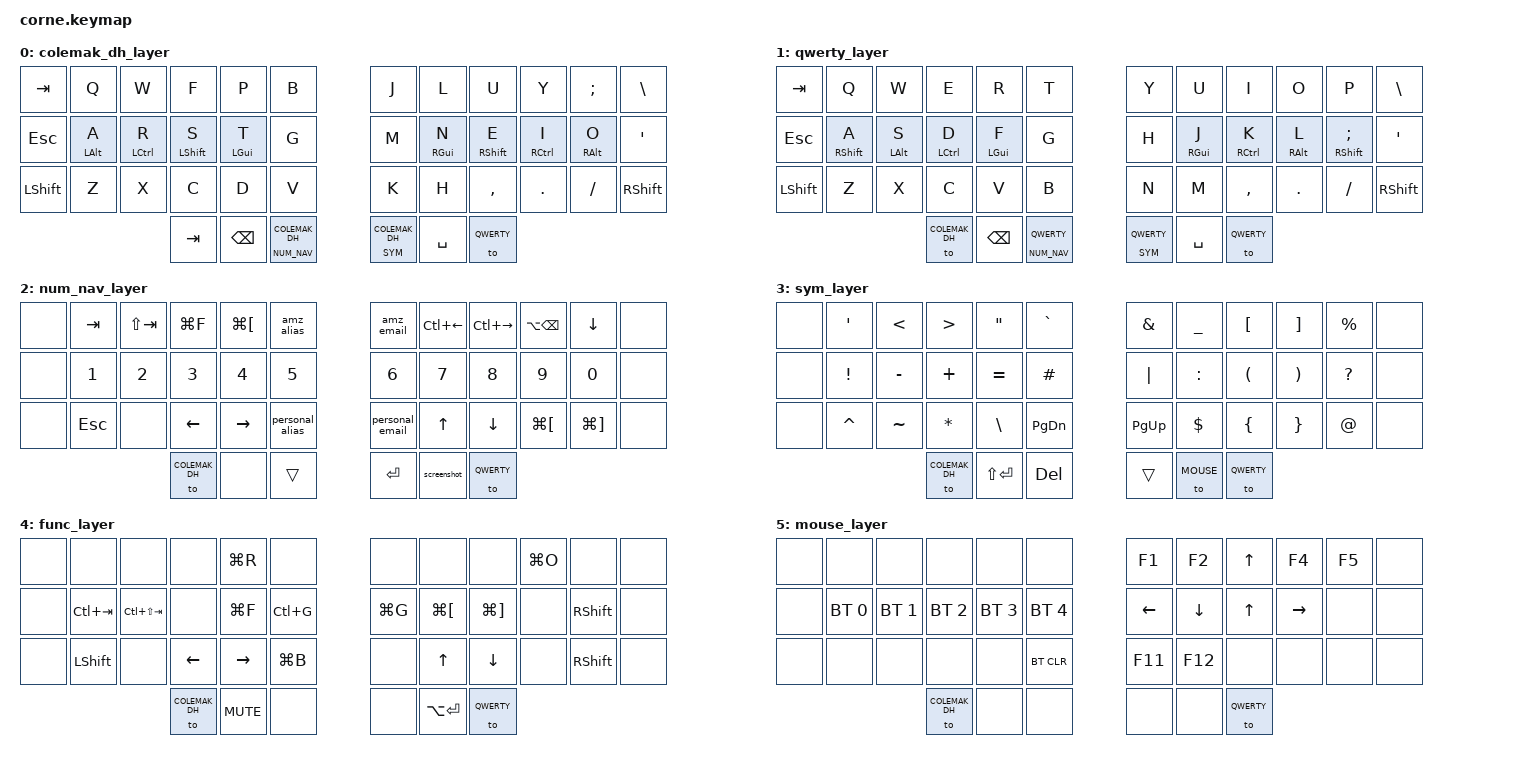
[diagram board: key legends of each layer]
/*
 * Copyright (c) 2020 The ZMK Contributors
 *
 * SPDX-License-Identifier: MIT
 */

#include <behaviors.dtsi>
#include <dt-bindings/zmk/keys.h>
#include <dt-bindings/zmk/bt.h>

// Layer definitions
#define COLEMAK_DH 0
#define QWERTY     1
#define NUM_NAV    2
#define SYM        3
#define FUNC       4
#define MOUSE      5

/ {
    macros {
        amz_alias: amz_alias {
            label = "Amazon_Alias";
            compatible = "zmk,behavior-macro";
            #binding-cells = <0>;
            bindings
                = <&macro_tap &kp M &kp A &kp C &kp D &kp M &kp E &kp R &kp R>;
        };

        amz_email: amz_email {
            label = "Amazon_Email";
            compatible = "zmk,behavior-macro";
            #binding-cells = <0>;
            bindings
                = <&macro_tap &kp M &kp A &kp C &kp D &kp M &kp E &kp R &kp R &kp AT &kp A &kp M &kp A &kp Z &kp O &kp N &kp DOT &kp C &kp O &kp M>;
        };

        personal_alias: personal_alias {
            label = "Personal_Alias";
            compatible = "zmk,behavior-macro";
            #binding-cells = <0>;
            bindings
                = <&macro_tap &kp M &kp A &kp C &kp M &kp E &kp R &kp R &kp I &kp T &kp T &kp N9 &kp N0>;
        };

        personal_email: personal_email {
            label = "Personal_Email";
            compatible = "zmk,behavior-macro";
            #binding-cells = <0>;
            bindings
                = <&macro_tap &kp M &kp A &kp C &kp M &kp E &kp R &kp R &kp I &kp T &kp T &kp N9 &kp N0 &kp AT &kp G &kp M &kp A &kp I &kp L &kp DOT &kp C &kp O &kp M>;
        };

        screenshot: screenshot {
            label = "Screenshot";
            compatible = "zmk,behavior-macro";
            #binding-cells = <0>;
            bindings
                = <&macro_press &kp LGUI &kp RSHFT>,
                  <&macro_tap &kp N4>,
                  <&macro_release &kp LGUI &kp RSHFT>;
        };
    };

    behaviors {
        lt_to2: layer_tap_to_layer_2 {
            compatible = "zmk,behavior-hold-tap";
            label = "LAYER_TAP_TO_LAYER_2";
            #binding-cells = <2>;
            tapping-term-ms = <200>;
            quick-tap-ms = <0>;
            flavor = "hold-preferred";
            bindings = <&mo>, <&to>;
        };

        lt_to3: layer_tap_to_layer_3 {
            compatible = "zmk,behavior-hold-tap";
            label = "LAYER_TAP_TO_LAYER_3";
            #binding-cells = <2>;
            tapping-term-ms = <200>;
            quick-tap-ms = <0>;
            flavor = "hold-preferred";
            bindings = <&mo>, <&to>;
        };
        
        mt: mod_tap {
            compatible = "zmk,behavior-hold-tap";
            label = "MOD_TAP";
            #binding-cells = <2>;
            tapping-term-ms = <200>;
            flavor = "tap-preferred";
            global-quick-tap;
            bindings = <&kp>, <&kp>;
        };
    };

    keymap {
        compatible = "zmk,keymap";

        colemak_dh_layer {
            // -----------------------------------------------------------------------------------------
            // |  TAB |  Q  |  W  |  F  |  P  |  B  |   |  J  |  L  |  U  |  Y  |  ;  |  \  |
            // | ESC  |  A  |  R  |  S  |  T  |  G  |   |  M  |  N  |  E  |  I  |  O  |  '  |
            // | SHFT |  Z  |  X  |  C  |  D  |  V  |   |  K  |  H  |  ,  |  .  |  /  | SHFT|
            //                    | TAB | BSPC| LT2 |   | LT3 | SPC | TO1 |
            bindings = <
                &kp TAB         &kp Q           &kp W           &kp F            &kp P           &kp B                 &kp J           &kp L           &kp U            &kp Y           &kp SEMI        &kp BSLH
                &kp ESC         &mt LALT A      &mt LCTRL R     &mt LSHFT S      &mt LGUI T      &kp G                 &kp M           &mt RGUI N      &mt RSHFT E      &mt RCTRL I     &mt RALT O      &kp SQT
                &kp LSHFT       &kp Z           &kp X           &kp C            &kp D           &kp V                 &kp K           &kp H           &kp COMMA        &kp DOT         &kp FSLH        &kp RSHFT
                                                &kp TAB         &kp BSPC         &lt_to2 NUM_NAV COLEMAK_DH            &lt_to3 SYM COLEMAK_DH          &kp SPACE       &to QWERTY
            >;
        };

        qwerty_layer {
            // -----------------------------------------------------------------------------------------
            // |  TAB |  Q  |  W  |  E  |  R  |  T  |   |  Y  |  U  |  I  |  O  |  P  |  \  |
            // | ESC  |  A  |  S  |  D  |  F  |  G  |   |  H  |  J  |  K  |  L  |  ;  |  '  |
            // | SHFT |  Z  |  X  |  C  |  V  |  B  |   |  N  |  M  |  ,  |  .  |  /  | SHFT|
            //                    | TO0 | BSPC| LT2 |   | LT3 | SPC | TO1 |
            bindings = <
                &kp TAB         &kp Q           &kp W           &kp E            &kp R           &kp T                 &kp Y           &kp U           &kp I            &kp O           &kp P           &kp BSLH
                &kp ESC         &mt RSHFT A     &mt LALT S      &mt LCTRL D      &mt LGUI F      &kp G                 &kp H           &mt RGUI J      &mt RCTRL K      &mt RALT L      &mt RSHFT SEMI  &kp SQT
                &kp LSHFT       &kp Z           &kp X           &kp C            &kp V           &kp B                 &kp N           &kp M           &kp COMMA        &kp DOT         &kp FSLH        &kp RSHFT
                                                &to COLEMAK_DH  &kp BSPC         &lt_to2 NUM_NAV QWERTY                &lt_to3 SYM QWERTY              &kp SPACE       &to QWERTY
            >;
        };

        num_nav_layer {
            // -----------------------------------------------------------------------------------------
            // |      | TAB  |STAB  |GUI+F |GUI+[ |ALIAS |   |EMAIL |C+LFT |C+RGT |A+BSPC| DOWN |      |
            // |      |  1   |  2   |  3   |  4   |  5   |   |  6   |  7   |  8   |  9   |  0   |      |
            // |      | ESC  |      | LEFT | RIGHT|PALIAS|   | PEML | UP   | DOWN |GUI+[ |GUI+] |      |
            //                      | TO0  |      |      |   | ENT  |SCRN  | TO1  |
            bindings = <
                &none           &kp TAB         &kp LS(TAB)     &kp LG(F)        &kp LG(LBKT)    &amz_alias           &amz_email      &kp LC(LEFT)    &kp LC(RIGHT)    &kp LA(BSPC)    &kp DOWN        &none
                &none           &kp N1          &kp N2          &kp N3           &kp N4          &kp N5               &kp N6          &kp N7          &kp N8           &kp N9          &kp N0          &none
                &none           &kp ESC         &none           &kp LEFT         &kp RIGHT       &personal_alias      &personal_email &kp UP          &kp DOWN         &kp LG(LBKT)    &kp LG(RBKT)    &none
                                                &to COLEMAK_DH  &none            &trans                               &kp RET         &screenshot     &to QWERTY
            >;
        };

        sym_layer {
            // -----------------------------------------------------------------------------------------
            // |      |  '   |  <   |  >   |  "   |  `   |   |  &   |  _   |  [   |  ]   |  %   |      |
            // |      |  !   |  -   |  +   |  =   |  #   |   |  |   |  :   |  (   |  )   |  ?   |      |
            // |      |  ^   |  ~   |  *   |  \   | PGDN |   | PGUP |  $   |  {   |  }   |  @   |      |
            //                      | TO0  |S+ENT | DEL  |   |      | TO5  | TO1  |
            bindings = <
                &none           &kp SQT         &kp LT          &kp GT           &kp DQT         &kp GRAVE            &kp AMPS        &kp UNDER       &kp LBKT         &kp RBKT        &kp PRCNT       &none
                &none           &kp EXCL        &kp MINUS       &kp PLUS         &kp EQUAL       &kp HASH             &kp PIPE        &kp COLON       &kp LPAR         &kp RPAR        &kp QMARK       &none
                &none           &kp CARET       &kp TILDE       &kp ASTRK        &kp BSLH        &kp PG_DN            &kp PG_UP       &kp DLLR        &kp LBRC         &kp RBRC        &kp AT          &none
                                                &to COLEMAK_DH  &kp LS(RET)      &kp DEL                              &trans          &to MOUSE       &to QWERTY
            >;
        };

        func_layer {
            // -----------------------------------------------------------------------------------------
            // |      |      |      |      |GUI+R |      |   |      |      |      |GUI+O |      |      |
            // |      |C+TAB |C+S+TB|      |GUI+F |C+G   |   |GUI+G |GUI+[ |GUI+] |      |RSHFT |      |
            // |      |LSHFT |      | LEFT | RIGHT|GUI+B |   |      | UP   | DOWN |      |RSHFT |      |
            //                      | TO0  | BTN1 |      |   |      |A+ENT | TO1  |
            bindings = <
                &none           &none           &none           &none            &kp LG(R)       &none                &none           &none           &none            &kp LG(O)       &none           &none
                &none           &kp LC(TAB)     &kp LC(LS(TAB)) &none            &kp LG(F)       &kp LC(G)            &kp LG(G)       &kp LG(LBKT)    &kp LG(RBKT)     &none           &kp RSHFT       &none
                &none           &kp LSHFT       &none           &kp LEFT         &kp RIGHT       &kp LG(B)            &none           &kp UP          &kp DOWN         &none           &kp RSHFT       &none
                                                &to COLEMAK_DH  &kp K_MUTE       &none                                &none           &kp LA(RET)     &to QWERTY
            >;
        };

        mouse_layer {
            // -----------------------------------------------------------------------------------------
            // |      |      |      |      |      |      |   | F1   | F2   | UP   | F4   | F5   |      |
            // |      | BT1  | BT2  | BT3  | BT4  | BT5  |   | LEFT | DOWN | UP   |RIGHT |      |      |
            // |      |      |      |      |      |BTCLR |   | F11  | F12  |      |      |      |      |
            //                      | TO0  |      |      |   |      |      | TO1  |
            bindings = <
                &none           &none           &none           &none            &none           &none                &kp F1          &kp F2          &kp UP           &kp F4          &kp F5          &none
                &none           &bt BT_SEL 0    &bt BT_SEL 1    &bt BT_SEL 2     &bt BT_SEL 3    &bt BT_SEL 4         &kp LEFT        &kp DOWN        &kp UP           &kp RIGHT       &none           &none
                &none           &none           &none           &none            &none           &bt BT_CLR           &kp F11         &kp F12         &none            &none           &none           &none
                                                &to COLEMAK_DH  &none            &none                                &none           &none           &to QWERTY
            >;
        };
    };
};
